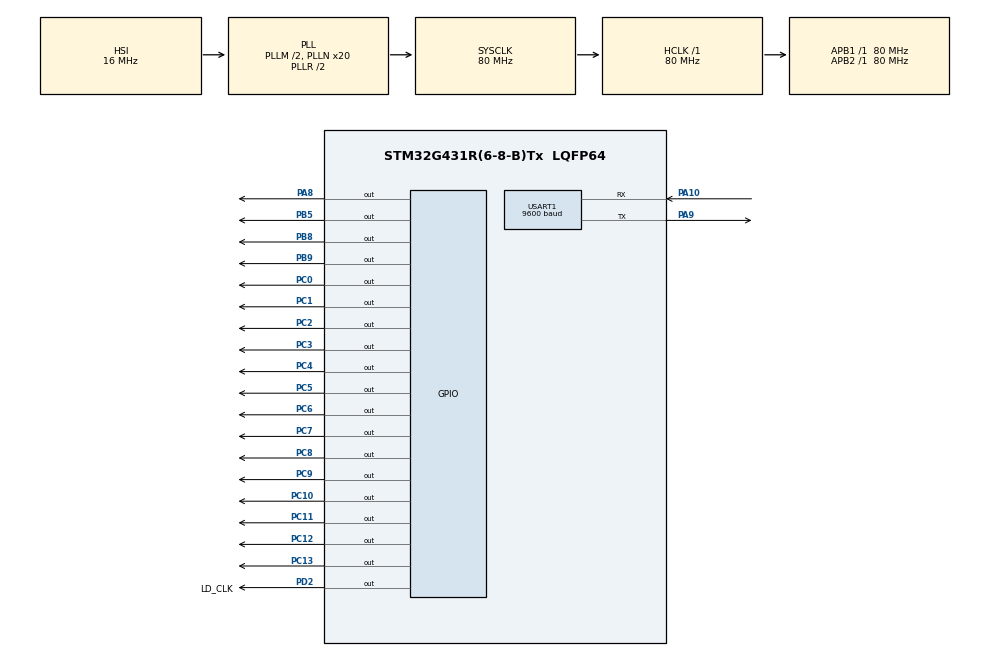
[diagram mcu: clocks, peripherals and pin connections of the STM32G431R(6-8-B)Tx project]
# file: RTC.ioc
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Mcu.Family=STM32G4
Mcu.Name=STM32G431R(6-8-B)Tx
Mcu.Package=LQFP64
NVIC.PriorityGroup=NVIC_PRIORITYGROUP_4
NVIC.RTC_Alarm_IRQn=true\:0\:0\:false\:false\:true\:true\:true
NVIC.USART1_IRQn=true\:0\:0\:false\:false\:true\:true\:true
PA10.Mode=Asynchronous
PA10.Signal=USART1_RX
PA8.Signal=GPIO_Output
PA9.Mode=Asynchronous
PA9.Signal=USART1_TX
PB5.Signal=GPIO_Output
PB8-BOOT0.Signal=GPIO_Output
PB9.Signal=GPIO_Output
PC0.Signal=GPIO_Output
PC1.Signal=GPIO_Output
PC10.Signal=GPIO_Output
PC11.Signal=GPIO_Output
PC12.Signal=GPIO_Output
PC13.Signal=GPIO_Output
PC14-OSC32_IN.Mode=LSE-External-Oscillator
PC14-OSC32_IN.Signal=RCC_OSC32_IN
PC15-OSC32_OUT.Mode=LSE-External-Oscillator
PC15-OSC32_OUT.Signal=RCC_OSC32_OUT
PC2.Signal=GPIO_Output
PC3.Signal=GPIO_Output
PC4.Signal=GPIO_Output
PC5.Signal=GPIO_Output
PC6.Signal=GPIO_Output
PC7.Signal=GPIO_Output
PC8.Signal=GPIO_Output
PC9.Signal=GPIO_Output
PD2.GPIO_Label=LD_CLK
PD2.Signal=GPIO_Output
PF0-OSC_IN.Mode=HSE-External-Oscillator
PF0-OSC_IN.Signal=RCC_OSC_IN
PF1-OSC_OUT.Mode=HSE-External-Oscillator
PF1-OSC_OUT.Signal=RCC_OSC_OUT
ProjectManager.HeapSize=0x200
ProjectManager.StackSize=0x400
ProjectManager.TargetToolchain=MDK-ARM V5.27
RCC.ADC12Freq_Value=80000000
RCC.AHBFreq_Value=80000000
RCC.APB1Freq_Value=80000000
RCC.APB1TimFreq_Value=80000000
RCC.APB2Freq_Value=80000000
RCC.APB2TimFreq_Value=80000000
RCC.CortexFreq_Value=80000000
RCC.EXTERNAL_CLOCK_VALUE=12288000
RCC.HCLKFreq_Value=80000000
RCC.HSE_VALUE=24000000
RCC.HSI48_VALUE=48000000
RCC.HSI_VALUE=16000000
RCC.PLLM=RCC_PLLM_DIV2
RCC.PLLN=20
RCC.SYSCLKFreq_VALUE=80000000
RCC.SYSCLKSource=RCC_SYSCLKSOURCE_PLLCLK
RCC.USBFreq_Value=80000000
RCC.VCOOutputFreq_Value=160000000
RTC.Alarm-Alarm\ A=RTC_ALARM_A
RTC.Minutes_A-Alarm\ A=1
USART1.BaudRate=9600
USART1.VirtualMode-Asynchronous=VM_ASYNC
VP_RTC_VS_RTC_Activate.Mode=RTC_Enabled
VP_RTC_VS_RTC_Alarm_A_Intern.Mode=Alarm A
VP_RTC_VS_RTC_Calendar.Mode=RTC_Calendar
VP_SYS_VS_DBSignals.Mode=DisableDeadBatterySignals
board=custom

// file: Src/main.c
/* USER CODE BEGIN Header */
/**
  ******************************************************************************
  * @file           : main.c
  * @brief          : Main program body
  ******************************************************************************
  * @attention
  *
  * <h2><center>&copy; Copyright (c) 2021 STMicroelectronics.
  * All rights reserved.</center></h2>
  *
  * This software component is licensed by ST under BSD 3-Clause license,
  * the "License"; You may not use this file except in compliance with the
  * License. You may obtain a copy of the License at:
  *                        opensource.org/licenses/BSD-3-Clause
  *
  ******************************************************************************
  */
/* USER CODE END Header */
#include "main.h"

/* USER CODE BEGIN Includes */
#include <stdio.h>
#include "lcd.h"
/* USER CODE END Includes */

RTC_HandleTypeDef hrtc;

UART_HandleTypeDef huart1;

/* USER CODE BEGIN PV */
_Bool Rtc_Flag;
uint16_t Led_Val;
RTC_TimeTypeDef sTime;
RTC_DateTypeDef sDate;
RTC_AlarmTypeDef sAlarm;
/* USER CODE END PV */

void SystemClock_Config(void);
static void MX_GPIO_Init(void);
static void MX_RTC_Init(void);
static void MX_USART1_UART_Init(void);

/* USER CODE BEGIN 0 */
//操作LED的函数
//1 关闭全部LED，避免与LCD起冲突
void TurnOff_LEDS()
{
	Led_Val = 0xFF00;
	HAL_GPIO_WritePin(LD_CLK_GPIO_Port, LD_CLK_Pin, GPIO_PIN_SET);
	GPIOC->ODR = (uint32_t)Led_Val;
	HAL_GPIO_WritePin(LD_CLK_GPIO_Port, LD_CLK_Pin, GPIO_PIN_RESET);
}
//2 关闭LED
void TurnOff_LED(uint8_t i)
{
	Led_Val |= (0x01 << (7 + i));
	HAL_GPIO_WritePin(LD_CLK_GPIO_Port, LD_CLK_Pin, GPIO_PIN_SET);
	GPIOC->ODR = (uint32_t)Led_Val;
	HAL_GPIO_WritePin(LD_CLK_GPIO_Port, LD_CLK_Pin, GPIO_PIN_RESET);
}
//3 打开LED
void TurnOn_LED(uint8_t i)
{
	Led_Val &= ~(0x01 << (7 + i));
	HAL_GPIO_WritePin(LD_CLK_GPIO_Port, LD_CLK_Pin, GPIO_PIN_SET);
	GPIOC->ODR = (uint32_t)Led_Val;
	HAL_GPIO_WritePin(LD_CLK_GPIO_Port, LD_CLK_Pin, GPIO_PIN_RESET);
}

//LCD显示进程
void Display_Proc()
{
	uint8_t buf[30];
	sprintf((char *)buf, "   RTC: %02d:%02d:%02d   ", sTime.Hours, sTime.Minutes, sTime.Seconds);
	LCD_DisplayStringLine(Line3, (uint8_t *)buf);
}
/* USER CODE END 0 */

int main(void)
{

  /* MCU Configuration--------------------------------------------------------*/

  /* Reset of all peripherals, Initializes the Flash interface and the Systick. */
  HAL_Init();

  /* Configure the system clock */
  SystemClock_Config();

  /* Initialize all configured peripherals */
  MX_GPIO_Init();
  MX_RTC_Init();
  MX_USART1_UART_Init();
  /* USER CODE BEGIN 2 */
	HAL_RTC_SetAlarm_IT(&hrtc, &sAlarm, RTC_FORMAT_BIN);
	//初始化LCD
	LCD_Init();
	LCD_Clear(White);
	LCD_SetBackColor(White);
	LCD_SetTextColor(Black);
	//关闭全部LED
	TurnOff_LEDS();
  /* USER CODE END 2 */

  /* Infinite loop */
  /* USER CODE BEGIN WHILE */
  while (1)
  {
		Display_Proc();
    /* USER CODE END WHILE */

    /* USER CODE BEGIN 3 */
		if(Rtc_Flag)
		{
			Rtc_Flag = 0;
			HAL_RTC_GetTime(&hrtc, &sTime, RTC_FORMAT_BIN);
			HAL_RTC_GetDate(&hrtc, &sDate, RTC_FORMAT_BIN);
		}

  }
  /* USER CODE END 3 */
}

void SystemClock_Config(void)
{
  RCC_OscInitTypeDef RCC_OscInitStruct = {0};
  RCC_ClkInitTypeDef RCC_ClkInitStruct = {0};
  RCC_PeriphCLKInitTypeDef PeriphClkInit = {0};

  /** Configure the main internal regulator output voltage
  */
  HAL_PWREx_ControlVoltageScaling(PWR_REGULATOR_VOLTAGE_SCALE1);
  /** Initializes the RCC Oscillators according to the specified parameters
  * in the RCC_OscInitTypeDef structure.
  */
  RCC_OscInitStruct.OscillatorType = RCC_OSCILLATORTYPE_HSI|RCC_OSCILLATORTYPE_LSI;
  RCC_OscInitStruct.HSIState = RCC_HSI_ON;
  RCC_OscInitStruct.HSICalibrationValue = RCC_HSICALIBRATION_DEFAULT;
  RCC_OscInitStruct.LSIState = RCC_LSI_ON;
  RCC_OscInitStruct.PLL.PLLState = RCC_PLL_ON;
  RCC_OscInitStruct.PLL.PLLSource = RCC_PLLSOURCE_HSI;
  RCC_OscInitStruct.PLL.PLLM = RCC_PLLM_DIV2;
  RCC_OscInitStruct.PLL.PLLN = 20;
  RCC_OscInitStruct.PLL.PLLP = RCC_PLLP_DIV2;
  RCC_OscInitStruct.PLL.PLLQ = RCC_PLLQ_DIV2;
  RCC_OscInitStruct.PLL.PLLR = RCC_PLLR_DIV2;
  if (HAL_RCC_OscConfig(&RCC_OscInitStruct) != HAL_OK)
  {
    Error_Handler();
  }
  /** Initializes the CPU, AHB and APB buses clocks
  */
  RCC_ClkInitStruct.ClockType = RCC_CLOCKTYPE_HCLK|RCC_CLOCKTYPE_SYSCLK
                              |RCC_CLOCKTYPE_PCLK1|RCC_CLOCKTYPE_PCLK2;
  RCC_ClkInitStruct.SYSCLKSource = RCC_SYSCLKSOURCE_PLLCLK;
  RCC_ClkInitStruct.AHBCLKDivider = RCC_SYSCLK_DIV1;
  RCC_ClkInitStruct.APB1CLKDivider = RCC_HCLK_DIV1;
  RCC_ClkInitStruct.APB2CLKDivider = RCC_HCLK_DIV1;

  if (HAL_RCC_ClockConfig(&RCC_ClkInitStruct, FLASH_LATENCY_2) != HAL_OK)
  {
    Error_Handler();
  }
  /** Initializes the peripherals clocks
  */
  PeriphClkInit.PeriphClockSelection = RCC_PERIPHCLK_RTC|RCC_PERIPHCLK_USART1;
  PeriphClkInit.Usart1ClockSelection = RCC_USART1CLKSOURCE_PCLK2;
  PeriphClkInit.RTCClockSelection = RCC_RTCCLKSOURCE_LSI;

  if (HAL_RCCEx_PeriphCLKConfig(&PeriphClkInit) != HAL_OK)
  {
    Error_Handler();
  }
}

static void MX_RTC_Init(void)
{

//  RTC_TimeTypeDef sTime = {0};
//  RTC_DateTypeDef sDate = {0};
//  RTC_AlarmTypeDef sAlarm = {0};

  /** Initialize RTC Only
  */
  hrtc.Instance = RTC;
  hrtc.Init.HourFormat = RTC_HOURFORMAT_24;
  hrtc.Init.AsynchPrediv = 127;
  hrtc.Init.SynchPrediv = 255;
  hrtc.Init.OutPut = RTC_OUTPUT_DISABLE;
  hrtc.Init.OutPutRemap = RTC_OUTPUT_REMAP_NONE;
  hrtc.Init.OutPutPolarity = RTC_OUTPUT_POLARITY_HIGH;
  hrtc.Init.OutPutType = RTC_OUTPUT_TYPE_OPENDRAIN;
  hrtc.Init.OutPutPullUp = RTC_OUTPUT_PULLUP_NONE;
  if (HAL_RTC_Init(&hrtc) != HAL_OK)
  {
    Error_Handler();
  }

  /** Initialize RTC and set the Time and Date
  */
  sTime.Hours = 0x0;
  sTime.Minutes = 0x0;
  sTime.Seconds = 0x0;
  sTime.SubSeconds = 0x0;
  sTime.DayLightSaving = RTC_DAYLIGHTSAVING_NONE;
  sTime.StoreOperation = RTC_STOREOPERATION_RESET;
  if (HAL_RTC_SetTime(&hrtc, &sTime, RTC_FORMAT_BCD) != HAL_OK)
  {
    Error_Handler();
  }
  sDate.WeekDay = RTC_WEEKDAY_MONDAY;
  sDate.Month = RTC_MONTH_JANUARY;
  sDate.Date = 0x1;
  sDate.Year = 0x0;
  if (HAL_RTC_SetDate(&hrtc, &sDate, RTC_FORMAT_BCD) != HAL_OK)
  {
    Error_Handler();
  }
  /** Enable the Alarm A
  */
  sAlarm.AlarmTime.Hours = 0x0;
  sAlarm.AlarmTime.Minutes = 0x0;
  sAlarm.AlarmTime.Seconds = 0x2;
  sAlarm.AlarmTime.SubSeconds = 0x0;
  sAlarm.AlarmMask = RTC_ALARMMASK_NONE;
  sAlarm.AlarmSubSecondMask = RTC_ALARMSUBSECONDMASK_ALL;
  sAlarm.AlarmDateWeekDaySel = RTC_ALARMDATEWEEKDAYSEL_DATE;
  sAlarm.AlarmDateWeekDay = 0x1;
  sAlarm.Alarm = RTC_ALARM_A;
  if (HAL_RTC_SetAlarm_IT(&hrtc, &sAlarm, RTC_FORMAT_BCD) != HAL_OK)
  {
    Error_Handler();
  }

}

static void MX_USART1_UART_Init(void)
{

  huart1.Instance = USART1;
  huart1.Init.BaudRate = 9600;
  huart1.Init.WordLength = UART_WORDLENGTH_8B;
  huart1.Init.StopBits = UART_STOPBITS_1;
  huart1.Init.Parity = UART_PARITY_NONE;
  huart1.Init.Mode = UART_MODE_TX_RX;
  huart1.Init.HwFlowCtl = UART_HWCONTROL_NONE;
  huart1.Init.OverSampling = UART_OVERSAMPLING_16;
  huart1.Init.OneBitSampling = UART_ONE_BIT_SAMPLE_DISABLE;
  huart1.Init.ClockPrescaler = UART_PRESCALER_DIV1;
  huart1.AdvancedInit.AdvFeatureInit = UART_ADVFEATURE_NO_INIT;
  if (HAL_UART_Init(&huart1) != HAL_OK)
  {
    Error_Handler();
  }
  if (HAL_UARTEx_SetTxFifoThreshold(&huart1, UART_TXFIFO_THRESHOLD_1_8) != HAL_OK)
  {
    Error_Handler();
  }
  if (HAL_UARTEx_SetRxFifoThreshold(&huart1, UART_RXFIFO_THRESHOLD_1_8) != HAL_OK)
  {
    Error_Handler();
  }
  if (HAL_UARTEx_DisableFifoMode(&huart1) != HAL_OK)
  {
    Error_Handler();
  }

}

static void MX_GPIO_Init(void)
{
  GPIO_InitTypeDef GPIO_InitStruct = {0};

  /* GPIO Ports Clock Enable */
  __HAL_RCC_GPIOC_CLK_ENABLE();
  __HAL_RCC_GPIOF_CLK_ENABLE();
  __HAL_RCC_GPIOA_CLK_ENABLE();
  __HAL_RCC_GPIOD_CLK_ENABLE();
  __HAL_RCC_GPIOB_CLK_ENABLE();

  /*Configure GPIO pin Output Level */
  HAL_GPIO_WritePin(GPIOC, GPIO_PIN_13|GPIO_PIN_0|GPIO_PIN_1|GPIO_PIN_2
                          |GPIO_PIN_3|GPIO_PIN_4|GPIO_PIN_5|GPIO_PIN_6
                          |GPIO_PIN_7|GPIO_PIN_8|GPIO_PIN_9|GPIO_PIN_10
                          |GPIO_PIN_11|GPIO_PIN_12, GPIO_PIN_RESET);

  /*Configure GPIO pin Output Level */
  HAL_GPIO_WritePin(GPIOA, GPIO_PIN_8, GPIO_PIN_RESET);

  /*Configure GPIO pin Output Level */
  HAL_GPIO_WritePin(LD_CLK_GPIO_Port, LD_CLK_Pin, GPIO_PIN_RESET);

  /*Configure GPIO pin Output Level */
  HAL_GPIO_WritePin(GPIOB, GPIO_PIN_5|GPIO_PIN_8|GPIO_PIN_9, GPIO_PIN_RESET);

  /*Configure GPIO pins : PC13 PC0 PC1 PC2
                           PC3 PC4 PC5 PC6
                           PC7 PC8 PC9 PC10
                           PC11 PC12 */
  GPIO_InitStruct.Pin = GPIO_PIN_13|GPIO_PIN_0|GPIO_PIN_1|GPIO_PIN_2
                          |GPIO_PIN_3|GPIO_PIN_4|GPIO_PIN_5|GPIO_PIN_6
                          |GPIO_PIN_7|GPIO_PIN_8|GPIO_PIN_9|GPIO_PIN_10
                          |GPIO_PIN_11|GPIO_PIN_12;
  GPIO_InitStruct.Mode = GPIO_MODE_OUTPUT_PP;
  GPIO_InitStruct.Pull = GPIO_NOPULL;
  GPIO_InitStruct.Speed = GPIO_SPEED_FREQ_LOW;
  HAL_GPIO_Init(GPIOC, &GPIO_InitStruct);

  /*Configure GPIO pin : PA8 */
  GPIO_InitStruct.Pin = GPIO_PIN_8;
  GPIO_InitStruct.Mode = GPIO_MODE_OUTPUT_PP;
  GPIO_InitStruct.Pull = GPIO_NOPULL;
  GPIO_InitStruct.Speed = GPIO_SPEED_FREQ_LOW;
  HAL_GPIO_Init(GPIOA, &GPIO_InitStruct);

  /*Configure GPIO pin : LD_CLK_Pin */
  GPIO_InitStruct.Pin = LD_CLK_Pin;
  GPIO_InitStruct.Mode = GPIO_MODE_OUTPUT_PP;
  GPIO_InitStruct.Pull = GPIO_NOPULL;
  GPIO_InitStruct.Speed = GPIO_SPEED_FREQ_LOW;
  HAL_GPIO_Init(LD_CLK_GPIO_Port, &GPIO_InitStruct);

  /*Configure GPIO pins : PB5 PB8 PB9 */
  GPIO_InitStruct.Pin = GPIO_PIN_5|GPIO_PIN_8|GPIO_PIN_9;
  GPIO_InitStruct.Mode = GPIO_MODE_OUTPUT_PP;
  GPIO_InitStruct.Pull = GPIO_NOPULL;
  GPIO_InitStruct.Speed = GPIO_SPEED_FREQ_LOW;
  HAL_GPIO_Init(GPIOB, &GPIO_InitStruct);

}

/* USER CODE BEGIN 4 */
int fputc(int ch,FILE *f)
{
	HAL_UART_Transmit(&huart1, (uint8_t *)&ch, 1, HAL_MAX_DELAY);
	return ch;
}
void HAL_RTC_AlarmAEventCallback(RTC_HandleTypeDef *hrtc)
{
	printf("YES");
	static uint16_t i = 5;
	sAlarm.AlarmTime.Hours = 0;
  sAlarm.AlarmTime.Minutes = 0;
  sAlarm.AlarmTime.Seconds = i;  /* 设置下次闹钟提醒时间是当前时间的3s之后 */
	i+=5;
  sAlarm.Alarm = RTC_ALARM_A;

	// 再次启动闹钟中断事件

  if(HAL_RTC_SetAlarm_IT(hrtc, &sAlarm, RTC_FORMAT_BIN) == HAL_OK)
	{
		printf("%d % d", sAlarm.AlarmTime.Hours, sAlarm.AlarmTime.Minutes);
	}
}
/* USER CODE END 4 */

void Error_Handler(void)
{
  __disable_irq();
  while (1)
  {
  }
}

/************************ (C) COPYRIGHT STMicroelectronics *****END OF FILE****/
